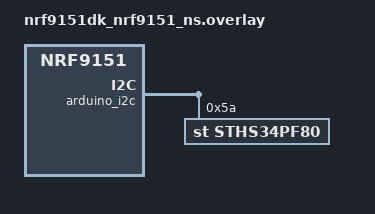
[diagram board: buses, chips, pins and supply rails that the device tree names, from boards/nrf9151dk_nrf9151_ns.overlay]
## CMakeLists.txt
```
# Copyright (c) 2026 Dotcom IoT LLP
# SPDX-License-Identifier: Apache-2.0

cmake_minimum_required(VERSION 3.20.0)
find_package(Zephyr REQUIRED HINTS $ENV{ZEPHYR_BASE})
project(presence_sensor)

target_sources(app PRIVATE src/main.c)
```

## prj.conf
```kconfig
CONFIG_SENSOR=y
CONFIG_SENSOR_ASYNC_API=y
CONFIG_RTIO=y
CONFIG_CBPRINTF_FP_SUPPORT=y
```

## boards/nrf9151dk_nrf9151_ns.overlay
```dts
/*
 * Copyright (c) 2026 Dotcom IoT LLP
 * SPDX-License-Identifier: Apache-2.0
 */

#include <zephyr/dt-bindings/sensor/sths34pf80.h>

/ {
	aliases {
		presence-sensor = &sths34pf80;
	};
};

&arduino_i2c {
	status = "okay";

	sths34pf80: sths34pf80@5a {
		compatible = "st,sths34pf80";
		reg = <0x5a>;
		odr = <STHS34PF80_DT_ODR_1HZ>;
		/* Optional: wire the sensor INT pin to read on data-ready */
		/* int-gpios = <&arduino_header 8 GPIO_ACTIVE_HIGH>; */
	};
};
```

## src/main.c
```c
/*
 * Copyright (c) 2026 Mahendra Sondagar <mahendra@dotcom.co.in>
 * Copyright (c) 2026 Parin Baudhanwala <parin.baudhanwala@dnkmail.in>
 *
 * SPDX-License-Identifier: Apache-2.0
 */

/*
 * Generic presence sensor sample: reads whatever channels the driver's decoder
 * supports with the Sensor Read & Decode API, on data-ready or by polling.
 */

#include <zephyr/kernel.h>
#include <zephyr/device.h>
#include <zephyr/devicetree.h>
#include <zephyr/drivers/sensor.h>
#include <zephyr/rtio/rtio.h>
#include <zephyr/sys/printk.h>

#if DT_HAS_COMPAT_STATUS_OKAY(st_sths34pf80)
#include <zephyr/drivers/sensor/sths34pf80.h>
#endif

#define SENSOR_NODE DT_ALIAS(presence_sensor)

#if !DT_NODE_HAS_STATUS_OKAY(SENSOR_NODE)
#error "Define the presence-sensor alias in a board overlay"
#endif

#define USE_TRIGGER DT_NODE_HAS_PROP(SENSOR_NODE, int_gpios)

/* Large enough for the raw frame of any supported driver.
 * For the STHS34PF80 the actual frame is sizeof(struct sths34pf80_rtio_data).
 */
#define RAW_BUF_SIZE 128

struct chan_info {
	enum sensor_channel chan;
	const char *name;
};

static const struct chan_info channels[] = {
	{SENSOR_CHAN_AMBIENT_TEMP, "ambient temp [C]"},
#if DT_HAS_COMPAT_STATUS_OKAY(st_sths34pf80)
	{(enum sensor_channel)SENSOR_CHAN_STHS34PF80_OBJECT_TEMP, "object temp [C]"},
	{(enum sensor_channel)SENSOR_CHAN_STHS34PF80_PRESENCE, "presence"},
	{(enum sensor_channel)SENSOR_CHAN_STHS34PF80_MOTION, "motion"},
	{(enum sensor_channel)SENSOR_CHAN_STHS34PF80_PRESENCE_FLAG, "presence flag"},
	{(enum sensor_channel)SENSOR_CHAN_STHS34PF80_MOTION_FLAG, "motion flag"},
	{(enum sensor_channel)SENSOR_CHAN_STHS34PF80_TEMP_SHOCK_FLAG, "temp shock flag"},
#endif
};

SENSOR_DT_READ_IODEV(sensor_iodev, SENSOR_NODE, {SENSOR_CHAN_ALL, 0});
RTIO_DEFINE(sensor_rtio, 1, 1);

#if USE_TRIGGER
static K_SEM_DEFINE(data_sem, 0, 1);
#endif

static void print_all(const struct device *dev)
{
	const struct sensor_decoder_api *decoder;
	uint8_t buf[RAW_BUF_SIZE] __aligned(8);
	/* Space for the header + exactly one reading. */
	uint8_t out_buf[sizeof(struct sensor_q31_data) + sizeof(struct sensor_q31_sample_data)]
		__aligned(8);
	struct sensor_q31_data *out = (struct sensor_q31_data *)out_buf;
	int rc;

	rc = sensor_get_decoder(dev, &decoder);
	if (rc != 0) {
		printk("No decoder (%d)\n", rc);
		return;
	}

	rc = sensor_read(&sensor_iodev, &sensor_rtio, buf, sizeof(buf));
	if (rc != 0) {
		printk("Read failed (%d)\n", rc);
		return;
	}

	for (size_t i = 0; i < ARRAY_SIZE(channels); i++) {
		struct sensor_chan_spec spec = {channels[i].chan, 0};
		uint32_t fit = 0;
		uint16_t frames = 0;

		if (decoder->get_frame_count(buf, spec, &frames) != 0 || frames == 0) {
			continue;
		}

		if (decoder->decode(buf, spec, &fit, 1, out) <= 0) {
			continue;
		}

		printk("%-18s %.3f\n", channels[i].name,
		       (double)out->readings[0].value * (double)((int64_t)1 << out->shift) /
			       2147483648.0);
	}
	printk("\n");
}

#if USE_TRIGGER
static void trigger_handler(const struct device *dev, const struct sensor_trigger *trig)
{
	ARG_UNUSED(dev);
	ARG_UNUSED(trig);

	/* Signal main() to read and print; keeps the handler short. */
	k_sem_give(&data_sem);
}
#endif

int main(void)
{
	const struct device *dev = DEVICE_DT_GET(SENSOR_NODE);

	printk("Presence sensor sample\n");

	if (!device_is_ready(dev)) {
		printk("Device %s is not ready\n", dev->name);
		return 0;
	}

#if USE_TRIGGER
	struct sensor_trigger trig = {.type = SENSOR_TRIG_DATA_READY, .chan = SENSOR_CHAN_ALL};

	if (sensor_trigger_set(dev, &trig, trigger_handler) != 0) {
		printk("Cannot set the data-ready trigger\n");
		return -EIO;
	}
#endif

	while (1) {
#if USE_TRIGGER
		k_sem_take(&data_sem, K_FOREVER);
#else
		k_sleep(K_SECONDS(1));
#endif
		print_all(dev);
	}

	return 0;
}
```
